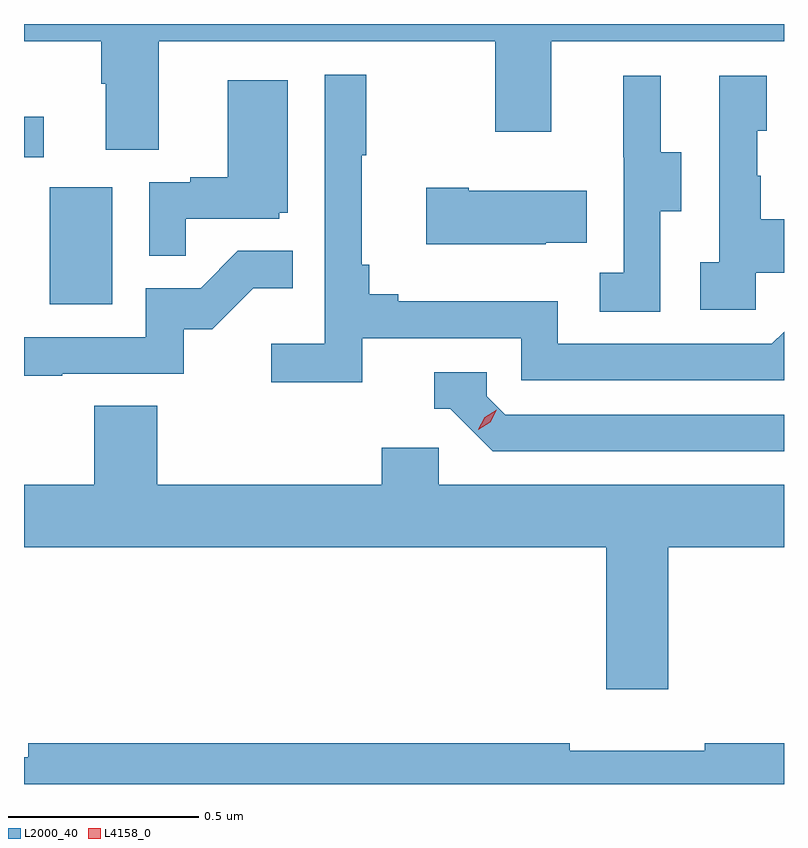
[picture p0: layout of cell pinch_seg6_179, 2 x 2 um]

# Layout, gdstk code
import gdstk
lib = gdstk.Library(unit=1e-6, precision=1e-09)
def R(c, l, rs):  # rectangles x0, y0, x1, y1
    for r in rs: c.add(gdstk.rectangle(r[:2], r[2:], *l))
def P(c, l, *ps):  # polygons
    for p in ps: c.add(gdstk.Polygon(p, *l))
L2000_40 = (2000, 40)
L4158_0 = (4158, 0)

pinch_seg6_179 = lib.new_cell('pinch_seg6_179')
R(pinch_seg6_179, L2000_40, [(1062.644,925.332,1062.808,925.639), (1062.576,925.719,1062.628,925.825)])
P(pinch_seg6_179, L2000_40, [(1062.931,926.024),(1063.816,926.024),(1063.816,925.785),(1063.963,925.785),(1063.963,926.024),(1064.576,926.024),(1064.576,926.069),(1062.576,926.069),(1062.576,926.024),(1062.779,926.024),(1062.779,925.912),(1062.791,925.912),(1062.791,925.738),(1062.931,925.738)],
  [(1063.466,925.242),(1063.884,925.242),(1063.884,925.131),(1064.576,925.131),(1064.576,925.259),(1064.544,925.227),(1063.98,925.227),(1063.98,925.339),(1063.561,925.339),(1063.561,925.358),(1063.484,925.358),(1063.484,925.435),(1063.465,925.435),(1063.465,925.723),(1063.477,925.723),(1063.477,925.936),(1063.368,925.936),(1063.368,925.228),(1063.227,925.228),(1063.227,925.126),(1063.466,925.126)],
  [(1064.502,925.415),(1064.576,925.415),(1064.576,925.555),(1064.515,925.555),(1064.515,925.67),(1064.505,925.67),(1064.505,925.788),(1064.53,925.788),(1064.53,925.933),(1064.406,925.933),(1064.406,925.442),(1064.355,925.442),(1064.355,925.317),(1064.502,925.317)],
  [(1064.25,925.576),(1064.305,925.576),(1064.305,925.731),(1064.251,925.731),(1064.251,925.933),(1064.153,925.933),(1064.153,925.719),(1064.154,925.719),(1064.154,925.415),(1064.091,925.415),(1064.091,925.312),(1064.25,925.312)],
  [(1063.001,925.557),(1063.248,925.557),(1063.248,925.572),(1063.27,925.572),(1063.27,925.921),(1063.112,925.921),(1063.112,925.666),(1063.013,925.666),(1063.013,925.653),(1062.906,925.653),(1062.906,925.459),(1063.001,925.459)],
  [(1063.949,925.493),(1064.057,925.493),(1064.057,925.63),(1063.747,925.63),(1063.747,925.638),(1063.635,925.638),(1063.635,925.49),(1063.949,925.49)],
  [(1062.677,925.149),(1062.996,925.149),(1062.996,925.266),(1063.072,925.266),(1063.179,925.373),(1063.283,925.373),(1063.283,925.472),(1063.139,925.472),(1063.041,925.374),(1062.897,925.374),(1062.897,925.245),(1062.576,925.245),(1062.576,925.144),(1062.677,925.144)],
  [(1064.576,925.041),(1063.842,925.041),(1063.794,925.089),(1063.794,925.152),(1063.655,925.152),(1063.655,925.056),(1063.698,925.056),(1063.809,924.945),(1064.576,924.945)],
  [(1064.272,924.692),(1064.576,924.692),(1064.576,924.856),(1063.668,924.856),(1063.668,924.954),(1063.517,924.954),(1063.517,924.856),(1062.926,924.856),(1062.926,925.064),(1062.761,925.064),(1062.761,924.856),(1062.576,924.856),(1062.576,924.692),(1064.108,924.692),(1064.108,924.318),(1064.272,924.318)],
  [(1064.576,924.176),(1064.368,924.176),(1064.368,924.157),(1064.012,924.157),(1064.012,924.176),(1062.587,924.176),(1062.587,924.14),(1062.576,924.14),(1062.576,924.069),(1064.576,924.069)])
P(pinch_seg6_179, L4158_0, [(1063.772,925.001),(1063.772,925.002),(1063.789,925.034),(1063.82,925.054),(1063.82,925.054),(1063.82,925.054),(1063.803,925.021),(1063.772,925.001)])

lib.write_gds('pinch_seg6_179.gds')
